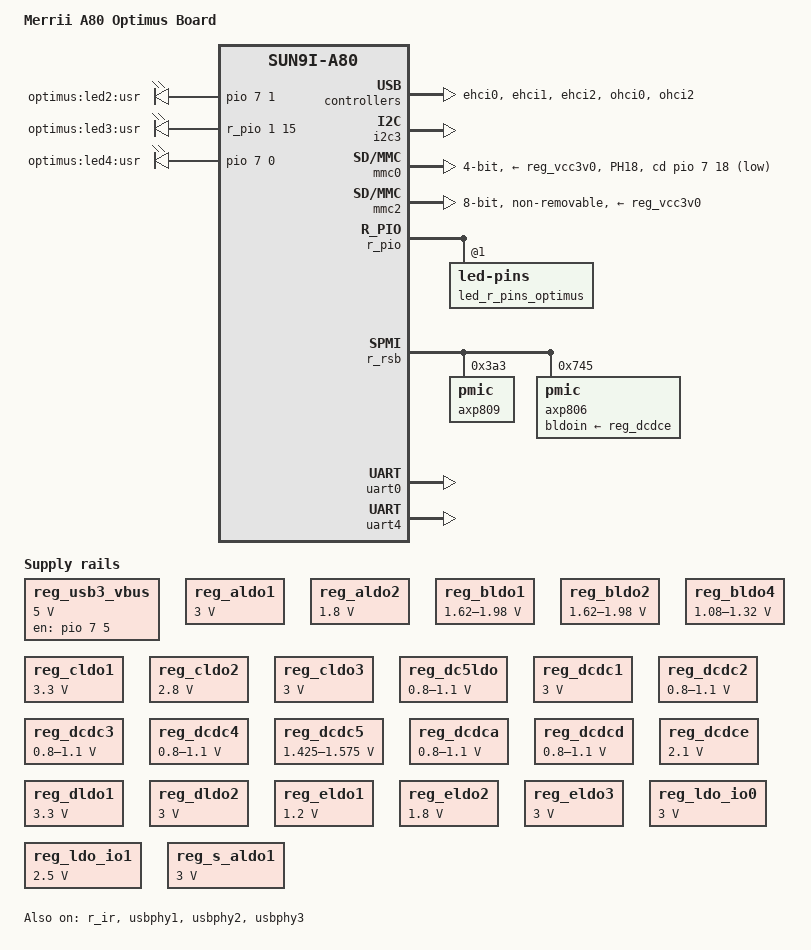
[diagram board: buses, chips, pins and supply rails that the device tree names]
/*
 * Copyright 2014 Chen-Yu Tsai
 *
 * Chen-Yu Tsai <wens@csie.org>
 *
 * This file is dual-licensed: you can use it either under the terms
 * of the GPL or the X11 license, at your option. Note that this dual
 * licensing only applies to this file, and not this project as a
 * whole.
 *
 *  a) This file is free software; you can redistribute it and/or
 *     modify it under the terms of the GNU General Public License as
 *     published by the Free Software Foundation; either version 2 of the
 *     License, or (at your option) any later version.
 *
 *     This file is distributed in the hope that it will be useful,
 *     but WITHOUT ANY WARRANTY; without even the implied warranty of
 *     MERCHANTABILITY or FITNESS FOR A PARTICULAR PURPOSE.  See the
 *     GNU General Public License for more details.
 *
 * Or, alternatively,
 *
 *  b) Permission is hereby granted, free of charge, to any person
 *     obtaining a copy of this software and associated documentation
 *     files (the "Software"), to deal in the Software without
 *     restriction, including without limitation the rights to use,
 *     copy, modify, merge, publish, distribute, sublicense, and/or
 *     sell copies of the Software, and to permit persons to whom the
 *     Software is furnished to do so, subject to the following
 *     conditions:
 *
 *     The above copyright notice and this permission notice shall be
 *     included in all copies or substantial portions of the Software.
 *
 *     THE SOFTWARE IS PROVIDED "AS IS", WITHOUT WARRANTY OF ANY KIND,
 *     EXPRESS OR IMPLIED, INCLUDING BUT NOT LIMITED TO THE WARRANTIES
 *     OF MERCHANTABILITY, FITNESS FOR A PARTICULAR PURPOSE AND
 *     NONINFRINGEMENT. IN NO EVENT SHALL THE AUTHORS OR COPYRIGHT
 *     HOLDERS BE LIABLE FOR ANY CLAIM, DAMAGES OR OTHER LIABILITY,
 *     WHETHER IN AN ACTION OF CONTRACT, TORT OR OTHERWISE, ARISING
 *     FROM, OUT OF OR IN CONNECTION WITH THE SOFTWARE OR THE USE OR
 *     OTHER DEALINGS IN THE SOFTWARE.
 */

/dts-v1/;
#include "sun9i-a80.dtsi"
#include "sunxi-common-regulators.dtsi"

#include <dt-bindings/gpio/gpio.h>
#include <dt-bindings/pinctrl/sun4i-a10.h>

/ {
	model = "Merrii A80 Optimus Board";
	compatible = "merrii,a80-optimus", "allwinner,sun9i-a80";

	aliases {
		serial0 = &uart0;
		serial1 = &uart4;
	};

	chosen {
		stdout-path = "serial0:115200n8";
	};

	leds {
		compatible = "gpio-leds";
		pinctrl-names = "default";
		pinctrl-0 = <&led_pins_optimus>, <&led_r_pins_optimus>;

		/* The LED names match those found on the board */

		led2 {
			label = "optimus:led2:usr";
			gpios = <&pio 7 1 GPIO_ACTIVE_HIGH>;
		};

		led3 {
			label = "optimus:led3:usr";
			gpios = <&r_pio 1 15 GPIO_ACTIVE_HIGH>; /* PM15 */
		};

		led4 {
			label = "optimus:led4:usr";
			gpios = <&pio 7 0 GPIO_ACTIVE_HIGH>;
		};
	};

	reg_usb3_vbus: usb3-vbus {
		compatible = "regulator-fixed";
		pinctrl-names = "default";
		pinctrl-0 = <&usb3_vbus_pin_optimus>;
		regulator-name = "usb3-vbus";
		regulator-min-microvolt = <5000000>;
		regulator-max-microvolt = <5000000>;
		enable-active-high;
		gpio = <&pio 7 5 GPIO_ACTIVE_HIGH>; /* PH5 */
	};
};

&ehci0 {
	status = "okay";
};

&ehci1 {
	status = "okay";
};

&ehci2 {
	status = "okay";
};

&i2c3 {
	pinctrl-names = "default";
	pinctrl-0 = <&i2c3_pins_a>;
	status = "okay";
};

&i2c3_pins_a {
	/* Enable internal pull-up */
	allwinner,pull = <SUN4I_PINCTRL_PULL_UP>;
};

&ohci0 {
	status = "okay";
};

&ohci2 {
	status = "okay";
};

&pio {
	led_pins_optimus: led-pins@0 {
		allwinner,pins = "PH0", "PH1";
		allwinner,function = "gpio_out";
		allwinner,drive = <SUN4I_PINCTRL_10_MA>;
		allwinner,pull = <SUN4I_PINCTRL_NO_PULL>;
	};

	mmc0_cd_pin_optimus: mmc0_cd_pin@0 {
		allwinner,pins = "PH18";
		allwinner,function = "gpio_in";
		allwinner,drive = <SUN4I_PINCTRL_10_MA>;
		allwinner,pull = <SUN4I_PINCTRL_PULL_UP>;
	};

	usb1_vbus_pin_optimus: usb1_vbus_pin@1 {
		allwinner,pins = "PH4";
		allwinner,function = "gpio_out";
		allwinner,drive = <SUN4I_PINCTRL_10_MA>;
		allwinner,pull = <SUN4I_PINCTRL_NO_PULL>;
	};

	usb3_vbus_pin_optimus: usb3_vbus_pin@1 {
		allwinner,pins = "PH5";
		allwinner,function = "gpio_out";
		allwinner,drive = <SUN4I_PINCTRL_10_MA>;
		allwinner,pull = <SUN4I_PINCTRL_NO_PULL>;
	};
};

&mmc0 {
	pinctrl-names = "default";
	pinctrl-0 = <&mmc0_pins>, <&mmc0_cd_pin_optimus>;
	vmmc-supply = <&reg_vcc3v0>;
	bus-width = <4>;
	cd-gpios = <&pio 7 18 GPIO_ACTIVE_HIGH>; /* PH8 */
	cd-inverted;
	status = "okay";
};

&mmc2 {
	pinctrl-names = "default";
	pinctrl-0 = <&mmc2_8bit_pins>;
	vmmc-supply = <&reg_vcc3v0>;
	bus-width = <8>;
	non-removable;
	status = "okay";
};

&reg_usb1_vbus {
	pinctrl-0 = <&usb1_vbus_pin_optimus>;
	gpio = <&pio 7 4 GPIO_ACTIVE_HIGH>; /* PH4 */
	status = "okay";
};

&r_ir {
	status = "okay";
};

&r_pio {
	led_r_pins_optimus: led-pins@1 {
		allwinner,pins = "PM15";
		allwinner,function = "gpio_out";
		allwinner,drive = <SUN4I_PINCTRL_10_MA>;
		allwinner,pull = <SUN4I_PINCTRL_NO_PULL>;
	};
};

&r_rsb {
	status = "okay";

	axp809: pmic@3a3 {
		reg = <0x3a3>;
		interrupt-parent = <&nmi_intc>;
		interrupts = <0 IRQ_TYPE_LEVEL_LOW>;
	};

	axp806: pmic@745 {
		reg = <0x745>;
		interrupt-parent = <&nmi_intc>;
		interrupts = <0 IRQ_TYPE_LEVEL_LOW>;
		bldoin-supply = <&reg_dcdce>;
	};
};

#include "axp809.dtsi"
#include "axp806.dtsi"

&reg_aldo1 {
	regulator-always-on;
	regulator-min-microvolt = <3000000>;
	regulator-max-microvolt = <3000000>;
	regulator-name = "vcc33-usbh";
};

&reg_aldo2 {
	regulator-min-microvolt = <1800000>;
	regulator-max-microvolt = <1800000>;
	regulator-name = "vcc-pb-io-cam";
};

&reg_bldo1 {
	regulator-always-on;
	regulator-min-microvolt = <1620000>;
	regulator-max-microvolt = <1980000>;
	regulator-name = "vcc18-efuse-adc-display-csi";
};

&reg_bldo2 {
	regulator-always-on;
	regulator-min-microvolt = <1620000>;
	regulator-max-microvolt = <1980000>;
	regulator-name = "vdd18-drampll-vcc18-pll-cpvdd";
};

&reg_bldo4 {
	regulator-min-microvolt = <1080000>;
	regulator-max-microvolt = <1320000>;
	regulator-name = "vcc12-hsic";
};

&reg_cldo1 {
	/*
	 * This was 3V in the original design, but 3.3V is the
	 * recommended supply voltage for the Ethernet PHY.
	 */
	regulator-min-microvolt = <3300000>;
	regulator-max-microvolt = <3300000>;
	regulator-name = "vcc-gmac-phy";
};

&reg_cldo2 {
	regulator-min-microvolt = <2800000>;
	regulator-max-microvolt = <2800000>;
	regulator-name = "afvcc-cam";
};

&reg_cldo3 {
	regulator-min-microvolt = <3000000>;
	regulator-max-microvolt = <3000000>;
	regulator-name = "vcc-io-wifi-codec-io2";
};

&reg_dc5ldo {
	regulator-always-on;
	regulator-min-microvolt = <800000>;
	regulator-max-microvolt = <1100000>;
	regulator-name = "vdd-cpus-09-usbh";
};

&reg_dcdc1 {
	regulator-always-on;
	regulator-min-microvolt = <3000000>;
	regulator-max-microvolt = <3000000>;
	regulator-name = "vcc-3v";
};

&reg_dcdc2 {
	regulator-min-microvolt = <800000>;
	regulator-max-microvolt = <1100000>;
	regulator-name = "vdd-gpu";
};

&reg_dcdc3 {
	regulator-always-on;
	regulator-min-microvolt = <800000>;
	regulator-max-microvolt = <1100000>;
	regulator-name = "vdd-cpua";
};

&reg_dcdc4 {
	regulator-always-on;
	regulator-min-microvolt = <800000>;
	regulator-max-microvolt = <1100000>;
	regulator-name = "vdd-sys-usb0-hdmi";
};

&reg_dcdc5 {
	regulator-always-on;
	regulator-min-microvolt = <1425000>;
	regulator-max-microvolt = <1575000>;
	regulator-name = "vcc-dram";
};

&reg_dcdca {
	regulator-always-on;
	regulator-min-microvolt = <800000>;
	regulator-max-microvolt = <1100000>;
	regulator-name = "vdd-cpub";
};

&reg_dcdcd {
	regulator-always-on;
	regulator-min-microvolt = <800000>;
	regulator-max-microvolt = <1100000>;
	regulator-name = "vdd-vpu";
};

&reg_dcdce {
	regulator-always-on;
	regulator-min-microvolt = <2100000>;
	regulator-max-microvolt = <2100000>;
	regulator-name = "vcc-bldo-codec-ldoin";
};

&reg_dldo1 {
	/*
	 * The WiFi chip supports a wide range (3.0 ~ 4.8V) of voltages,
	 * and so does this regulator (3.0 ~ 4.2V), but Allwinner SDK
	 * always sets it to 3.3V.
	 */
	regulator-min-microvolt = <3300000>;
	regulator-max-microvolt = <3300000>;
	regulator-name = "vcc-wifi";
};

&reg_dldo2 {
	regulator-always-on;
	regulator-min-microvolt = <3000000>;
	regulator-max-microvolt = <3000000>;
	regulator-name = "vcc-pl";
};

&reg_eldo1 {
	regulator-min-microvolt = <1200000>;
	regulator-max-microvolt = <1200000>;
	regulator-name = "vcc-dvdd-cam";
};

&reg_eldo2 {
	regulator-min-microvolt = <1800000>;
	regulator-max-microvolt = <1800000>;
	regulator-name = "vcc-pe";
};

&reg_eldo3 {
	regulator-always-on;
	regulator-min-microvolt = <3000000>;
	regulator-max-microvolt = <3000000>;
	regulator-name = "vcc-pm-codec-io1";
};

&reg_ldo_io0 {
	regulator-always-on;
	regulator-min-microvolt = <3000000>;
	regulator-max-microvolt = <3000000>;
	regulator-name = "vcc-pg";
};

&reg_ldo_io1 {
	regulator-min-microvolt = <2500000>;
	regulator-max-microvolt = <2500000>;
	regulator-name = "vcc-pa-gmac-2v5";
};

&reg_rtc_ldo {
	regulator-name = "vcc-rtc-vdd1v8-io";
};

&reg_s_aldo1 {
	regulator-always-on;
	regulator-min-microvolt = <3000000>;
	regulator-max-microvolt = <3000000>;
	regulator-name = "avcc";
};

&uart0 {
	pinctrl-names = "default";
	pinctrl-0 = <&uart0_pins_a>;
	status = "okay";
};

&uart4 {
	pinctrl-names = "default";
	pinctrl-0 = <&uart4_pins_a>;
	status = "okay";
};

&uart4_pins_a {
	/* Enable internal pull-up */
	allwinner,pull = <SUN4I_PINCTRL_PULL_UP>;
};

&usbphy1 {
	phy-supply = <&reg_usb1_vbus>;
	status = "okay";
};

&usbphy2 {
	phy-supply = <&reg_bldo4>;
	status = "okay";
};

&usbphy3 {
	phy-supply = <&reg_usb3_vbus>;
	status = "okay";
};
